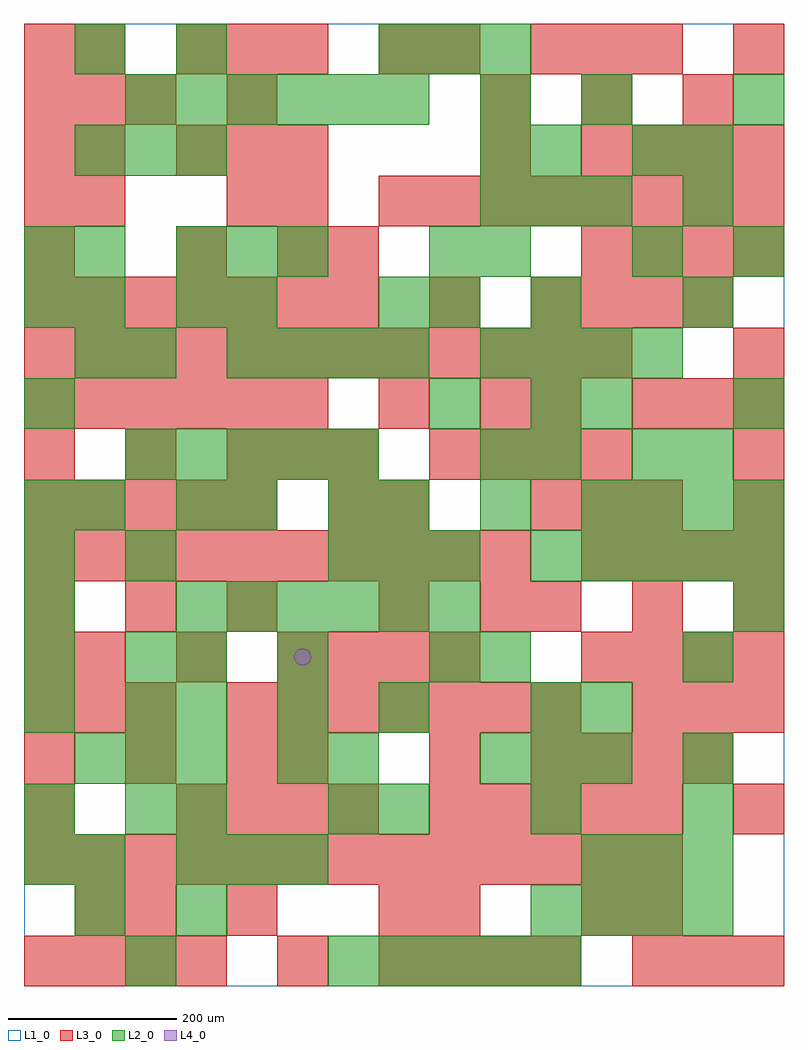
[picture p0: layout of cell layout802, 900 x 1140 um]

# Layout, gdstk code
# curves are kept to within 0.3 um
import gdstk
lib = gdstk.Library(unit=1e-6, precision=1e-09)
def R(c, l, rs):  # rectangles x0, y0, x1, y1
    for r in rs: c.add(gdstk.rectangle(r[:2], r[2:], *l))
def A(c, l, x, y, w, h, nx, ny, dx, dy):  # array of equal rectangles
    R(c, l, [(x+i*dx, y+j*dy, x+i*dx+w, y+j*dy+h) for i in range(nx) for j in range(ny)])
def P(c, l, *ps):  # polygons
    for p in ps: c.add(gdstk.Polygon(p, *l))
L1_0 = (1, 0)
L2_0 = (2, 0)
L3_0 = (3, 0)
L4_0 = (4, 0)

layout802 = lib.new_cell('layout802')
R(layout802, L1_0, [(0,0,900,1140)])
A(layout802, L2_0, 360, 0, 60, 60, 5, 1, 60, 0)
A(layout802, L2_0, 600, 60, 60, 60, 4, 1, 60, 0)
A(layout802, L2_0, 180, 120, 60, 60, 3, 2, 60, 720)
A(layout802, L2_0, 660, 120, 60, 60, 3, 1, 60, 0)
A(layout802, L2_0, 180, 180, 60, 60, 1, 3, 0, 180)
A(layout802, L2_0, 420, 180, 60, 60, 3, 1, 180, 0)
A(layout802, L2_0, 60, 240, 60, 60, 3, 2, 60, 720)
A(layout802, L2_0, 540, 240, 60, 60, 3, 2, 60, 660)
A(layout802, L2_0, 0, 300, 60, 60, 1, 5, 0, 60)
A(layout802, L2_0, 180, 300, 60, 60, 3, 1, 120, 0)
A(layout802, L2_0, 660, 300, 60, 60, 1, 3, 0, 360)
A(layout802, L2_0, 540, 360, 60, 60, 1, 3, 0, 240)
A(layout802, L2_0, 180, 420, 60, 60, 6, 1, 60, 0)
A(layout802, L2_0, 360, 480, 60, 60, 3, 1, 60, 0)
A(layout802, L2_0, 600, 480, 60, 60, 5, 1, 60, 0)
A(layout802, L2_0, 420, 540, 60, 60, 3, 1, 120, 0)
A(layout802, L2_0, 720, 540, 60, 60, 3, 1, 60, 0)
A(layout802, L2_0, 120, 600, 60, 60, 5, 1, 60, 0)
A(layout802, L2_0, 840, 660, 60, 60, 1, 3, 0, 180)
A(layout802, L2_0, 60, 720, 60, 60, 1, 3, 0, 60)
A(layout802, L2_0, 240, 720, 60, 60, 4, 1, 60, 0)
A(layout802, L2_0, 540, 720, 60, 60, 4, 1, 60, 0)
A(layout802, L2_0, 120, 1020, 60, 60, 6, 1, 60, 0)
A(layout802, L2_0, 420, 1080, 60, 60, 3, 1, 60, 0)
R(layout802, L2_0, [(120,0,180,60), (60,60,120,120), (180,60,240,120), (0,120,60,180), (60,120,120,180), (0,180,60,240), (120,180,180,240), (360,180,420,240), (300,240,360,300), (360,240,420,300), (780,240,840,300), (120,300,180,360), (600,300,660,360), (120,360,180,420), (300,360,360,420), (480,360,540,420), (780,360,840,420), (840,420,900,480), (120,480,180,540), (60,540,120,600), (240,540,300,600), (360,540,420,600), (600,600,660,660), (720,600,780,660), (780,600,840,660), (0,660,60,720), (480,660,540,720), (600,660,660,720), (120,720,180,780), (0,780,60,840), (180,780,240,840), (240,780,300,840), (420,780,480,840), (480,780,540,840), (600,780,660,840), (780,780,840,840), (0,840,60,900), (480,840,540,900), (720,840,780,900), (780,900,840,960), (540,960,600,1020), (600,960,660,1020), (720,960,780,1020), (780,960,840,1020), (540,1020,600,1080), (60,1080,120,1140), (180,1080,240,1140)])
A(layout802, L3_0, 0, 0, 60, 60, 4, 1, 60, 0)
A(layout802, L3_0, 420, 0, 60, 60, 4, 1, 60, 0)
A(layout802, L3_0, 720, 0, 60, 60, 3, 2, 60, 300)
A(layout802, L3_0, 0, 120, 60, 60, 13, 1, 60, 0)
A(layout802, L3_0, 180, 180, 60, 60, 4, 1, 60, 0)
A(layout802, L3_0, 480, 180, 60, 60, 5, 1, 60, 0)
A(layout802, L3_0, 0, 240, 60, 60, 3, 3, 120, 180)
A(layout802, L3_0, 600, 240, 60, 60, 4, 2, 60, 540)
A(layout802, L3_0, 0, 300, 60, 60, 3, 2, 60, 720)
A(layout802, L3_0, 240, 300, 60, 60, 7, 1, 60, 0)
A(layout802, L3_0, 60, 360, 60, 60, 3, 1, 120, 0)
A(layout802, L3_0, 360, 360, 60, 60, 3, 1, 60, 0)
A(layout802, L3_0, 660, 360, 60, 60, 4, 2, 60, 120)
A(layout802, L3_0, 420, 420, 60, 60, 1, 3, 0, 120)
A(layout802, L3_0, 600, 420, 60, 60, 3, 1, 120, 0)
A(layout802, L3_0, 0, 480, 60, 60, 10, 1, 60, 0)
A(layout802, L3_0, 0, 540, 60, 60, 5, 1, 60, 0)
A(layout802, L3_0, 600, 540, 60, 60, 3, 2, 60, 540)
A(layout802, L3_0, 480, 600, 60, 60, 4, 1, 60, 0)
A(layout802, L3_0, 0, 660, 60, 60, 6, 1, 60, 0)
A(layout802, L3_0, 720, 660, 60, 60, 3, 1, 60, 0)
A(layout802, L3_0, 0, 720, 60, 60, 12, 1, 60, 0)
A(layout802, L3_0, 0, 780, 60, 60, 7, 1, 60, 0)
A(layout802, L3_0, 0, 840, 60, 60, 1, 3, 0, 60)
A(layout802, L3_0, 660, 840, 60, 60, 4, 2, 60, 120)
A(layout802, L3_0, 420, 900, 60, 60, 8, 1, 60, 0)
A(layout802, L3_0, 180, 960, 60, 60, 3, 2, 60, 120)
A(layout802, L3_0, 540, 1020, 60, 60, 3, 1, 120, 0)
R(layout802, L3_0, [(300,0,360,60), (60,60,120,120), (120,60,180,120), (240,60,300,120), (420,60,480,120), (480,60,540,120), (660,60,720,120), (720,60,780,120), (0,180,60,240), (840,180,900,240), (300,240,360,300), (480,240,540,300), (0,360,60,420), (540,420,600,480), (360,540,420,600), (840,540,900,600), (300,600,360,660), (360,600,420,660), (840,600,900,660), (540,660,600,720), (600,660,660,720), (840,720,900,780), (480,780,540,840), (180,840,240,900), (300,840,360,900), (360,840,420,900), (60,900,120,960), (240,900,300,960), (300,900,360,960), (60,960,120,1020), (540,960,600,1020), (240,1020,300,1080), (0,1080,60,1140), (60,1080,120,1140), (420,1080,480,1140), (480,1080,540,1140), (840,1080,900,1140)])
P(layout802, L4_0, [(340,390),(339.239,393.827),(337.071,397.071),(333.827,399.239),(330,400),(326.173,399.239),(322.929,397.071),(320.761,393.827),(320,390),(320.761,386.173),(322.929,382.929),(326.173,380.761),(330,380),(333.827,380.761),(337.071,382.929),(339.239,386.173)])

lib.write_gds('layout802.gds')
